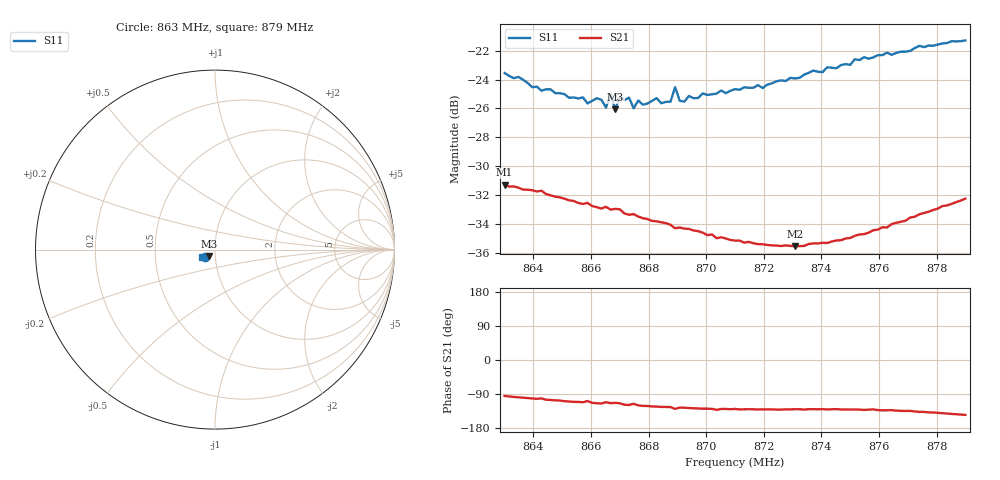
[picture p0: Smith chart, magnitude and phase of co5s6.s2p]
# HZ S RI R 50
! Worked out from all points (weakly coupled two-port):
!   101 points, 863 MHz to 879 MHz, reference 50 ohm
!   highest |S21| = -31.27 dB at 863 MHz (marker M1); lowest = -35.5 dB at 873.08 MHz (marker M2)
!   lowest |S11| = -26.1 dB at 866.84 MHz (marker M3), VSWR 1.10, Z = 46.5 - j3.35 ohm
!   |S11| at or under -10 dB: start of sweep to end of sweep
!   S12 and S22 are empty: the file has one direction only
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8.63e8  -0.0534 -0.0396  -0.00236 -0.0272  0 0  0 0
8.6428e8  -0.0432 -0.0384  -0.0051 -0.0255  0 0  0 0
8.6572e8  -0.0403 -0.0372  -0.00858 -0.0218  0 0  0 0
8.6588e8  -0.0371 -0.0367  -0.00743 -0.0224  0 0  0 0
8.6636e8  -0.0409 -0.0349  -0.00947 -0.0205  0 0  0 0
8.6652e8  -0.0347 -0.0367  -0.00828 -0.0213  0 0  0 0
8.6668e8  -0.0425 -0.0369  -0.00906 -0.0204  0 0  0 0
8.6684e8  -0.0345 -0.0359  -0.00884 -0.0207  0 0  0 0
8.67e8  -0.0413 -0.0362  -0.0092 -0.0204  0 0  0 0
8.6732e8  -0.0394 -0.0379  -0.0103 -0.0188  0 0  0 0
8.6748e8  -0.0327 -0.0381  -0.00931 -0.0195  0 0  0 0
8.6764e8  -0.0376 -0.0379  -0.0105 -0.0184  0 0  0 0
8.6844e8  -0.0353 -0.0386  -0.0112 -0.0168  0 0  0 0
8.6876e8  -0.0345 -0.0401  -0.0111 -0.0164  0 0  0 0
8.6892e8  -0.0413 -0.0427  -0.0122 -0.0149  0 0  0 0
8.6908e8  -0.0358 -0.0395  -0.0112 -0.0158  0 0  0 0
8.6924e8  -0.0341 -0.0404  -0.0113 -0.0156  0 0  0 0
8.71e8  -0.0363 -0.0458  -0.011 -0.0135  0 0  0 0
8.7308e8  -0.0412 -0.0486  -0.0107 -0.0128  0 0  0 0
8.7372e8  -0.0432 -0.0522  -0.0109 -0.0131  0 0  0 0
8.7644e8  -0.057 -0.0516  -0.0134 -0.0147  0 0  0 0
8.79e8  -0.075 -0.0425  -0.02 -0.014  0 0  0 0
